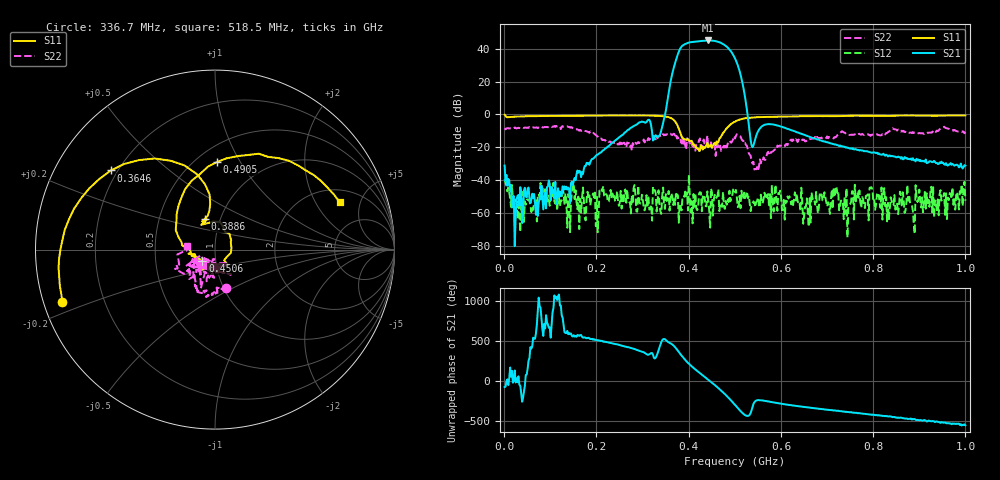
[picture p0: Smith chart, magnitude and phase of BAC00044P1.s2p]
!measured: 2026-10-27T15:24:22
!cal_instance: BBtestOct27
!cal_created: 2026-10-27T14:45
!cal_file: BBtesting.cal
!port1_delay_ps: -58.63
!port2_delay_ps: -59.31
!host: dhcp-10-250-247-203.harvard.edu
! Created with skrf 2.1.0 (http://scikit-rf.org).
# Hz S RI R 50.0
!freq ReS11 ImS11 ReS21 ImS21 ReS12 ImS12 ReS22 ImS22
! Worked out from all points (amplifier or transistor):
!   501 points, 1 MHz to 1 GHz, reference 50 ohm
!   highest |S21| = 45.1 dB at 442.6 MHz (marker M1)
!   |S21| within 3 dB of that: 387.6 MHz to 479 MHz (91.46 MHz wide, 21.1 % of centre)
!   unconditionally stable (mu >= 1): start of sweep to 400.1 MHz; 401.7 MHz to 440.5 MHz; 464.6 MHz to end of sweep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
!   at 166.8 MHz: K = 6580.64, MAG = -30.4 dB, |S12| = -60.0 dB
!   at 500.5 MHz: K = 1.47, MAG = 36.8 dB, |S12| = -47.5 dB
!   at 1 GHz: K = 1051.74, MAG = -22.5 dB, |S12| = -52.7 dB
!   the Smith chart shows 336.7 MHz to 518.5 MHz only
!   S11 on the Smith chart (normalised r, x): 336.7 MHz: 0.06, -0.17; 364.6 MHz: 0.17, +0.33; 388.6 MHz: 0.84, +0.30; 450.6 MHz: 0.86, -0.11; 490.5 MHz: 0.63, +0.80; 518.5 MHz: 2.74, +3.23
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1000000  -0.3913 0.8897  0.00796 -0.0262  0.00407 -0.00973  0.3662 -0.0677
1.68832e8  0.4854 -0.7672  -0.0166 -0.00517  -0.00203 -0.00179  -0.0331 -0.3248
3.34666e8  -0.8377 -0.3283  0.1866 0.0945  0.00396 -0.00277  0.0413 -0.2139
3.36664e8  -0.8504 -0.2895  0.0938 0.2052  0.00179 -0.00065  0.0605 -0.2154
3.64636e8  -0.5808 0.4407  -3.165 17.52  -0.00269 0.00147  -0.0463 -0.2276
3.76624e8  -0.0987 0.4188  63.25 25.14  -0.00283 0.00193  -0.12 -0.1615
3.82618e8  -0.0266 0.2543  97.5 -42.75  -9.03e-05 0.00157  -0.1414 -0.091
3.88612e8  -0.0566 0.1708  51.73 -119.1  0.00308 -0.00114  -0.0841 -0.0848
3.98602e8  -0.0458 0.1682  -98.15 -114.9  0.00113 0.000282  -0.1432 -0.0858
4.1059e8  0.058 0.097  -157.5 37.83  -0.00366 -0.000656  -0.00531 -0.1073
4.26574e8  0.0737 -0.0866  -5.927 171.8  0.00408 -0.000249  0.0112 -0.0965
4.42558e8  -0.0707 -0.0688  168.5 60.16  -0.00186 -0.00138  -0.0848 -0.0619
4.5055e8  -0.0706 -0.0629  168.5 -53.89  -0.00353 0.00221  0.0376 -0.1015
4.58542e8  -0.111 -0.027  94.27 -142  -0.0015 -0.00229  -0.00267 -0.0536
4.66534e8  -0.182 0.022  -18.82 -157.5  0.00086 0.000723  -0.0202 -0.085
4.78522e8  -0.2037 0.2433  -121.1 -41.75  0.00131 3.02e-05  0.00122 -0.0966
4.9051e8  0.0111 0.488  -54.05 69.09  -0.00174 0.0014  -0.0323 -0.1395
5.005e8  0.2958 0.5165  21.67 45.8  -0.0022 -0.0036  -0.1388 -0.1207
5.18482e8  0.6937 0.2648  4.517 -4.969  -0.00185 0.00179  -0.1554 0.0184
6.68332e8  0.0261 -0.8836  0.1726 0.0806  0.00276 0.000968  0.0372 -0.1785
8.34166e8  -0.6061 -0.662  0.00869 -0.0548  -0.000104 0.000628  -0.1803 -0.2357
1e9  -0.8884 -0.2563  -0.0268 0.00548  -0.00194 -0.00126  -0.2409 -0.1538
